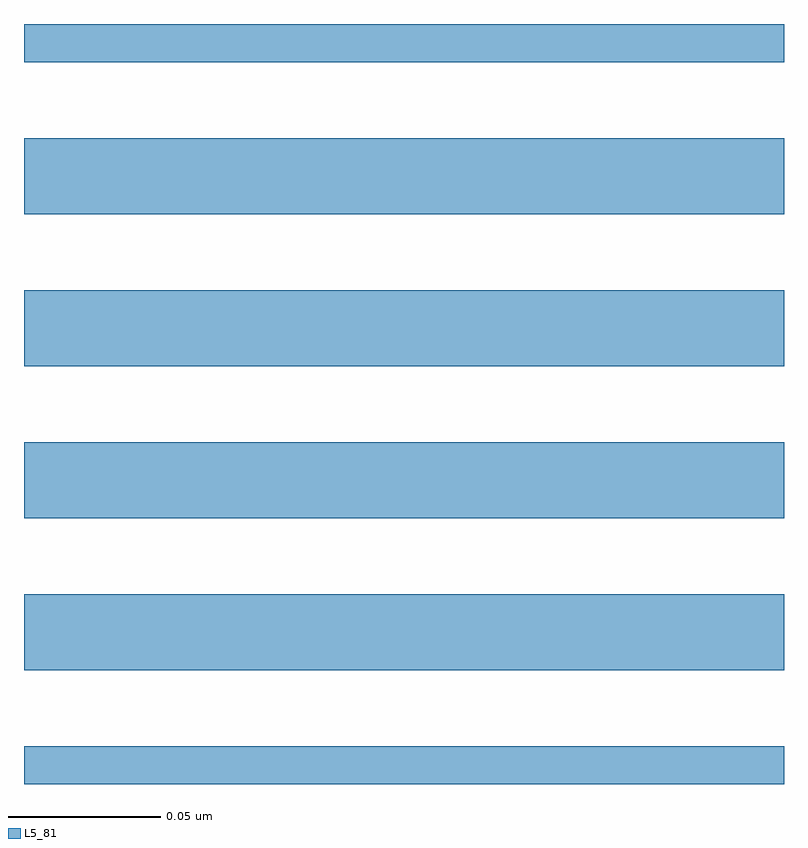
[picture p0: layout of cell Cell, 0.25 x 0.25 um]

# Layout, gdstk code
import gdstk
lib = gdstk.Library(unit=1e-6, precision=1.25e-10)
def R(c, l, rs):  # rectangles x0, y0, x1, y1
    for r in rs: c.add(gdstk.rectangle(r[:2], r[2:], *l))
def A(c, l, x, y, w, h, nx, ny, dx, dy):  # array of equal rectangles
    R(c, l, [(x+i*dx, y+j*dy, x+i*dx+w, y+j*dy+h) for i in range(nx) for j in range(ny)])
L5_81 = (5, 81)

cell = lib.new_cell('Cell')
A(cell, L5_81, 0, 0.0375, 0.25, 0.025, 1, 4, 0, 0.05)
R(cell, L5_81, [(0,0,0.25,0.0125), (0,0.2375,0.25,0.25)])

lib.write_gds('Cell.gds')
